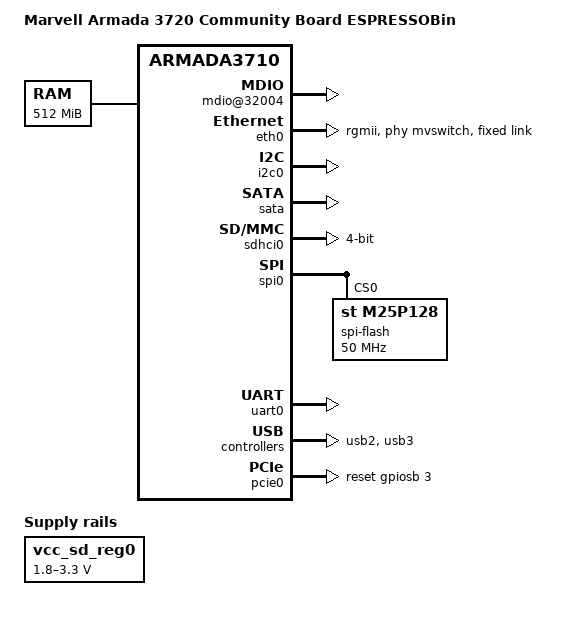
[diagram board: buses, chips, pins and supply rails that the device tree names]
// SPDX-License-Identifier: GPL-2.0+
/*
 * Device Tree file for Marvell Armada 3720 community board
 * (ESPRESSOBin)
 * Copyright (C) 2016 Marvell
 *
 * Gregory CLEMENT <gregory.clement@free-electrons.com>
 * Konstantin Porotchkin <kostap@marvell.com>
 */
/dts-v1/;

#include "armada-372x.dtsi"

/ {
	model = "Marvell Armada 3720 Community Board ESPRESSOBin";
	compatible = "marvell,armada-3720-espressobin",
		     "marvell,armada3720", "marvell,armada3710";

	chosen {
		stdout-path = "serial0:115200n8";
	};

	aliases {
		ethernet0 = &eth0;
		i2c0 = &i2c0;
		spi0 = &spi0;
	};

	memory {
		device_type = "memory";
		reg = <0x00000000 0x00000000 0x00000000 0x20000000>;
	};

	vcc_sd_reg0: regulator@0 {
		compatible = "regulator-gpio";
		regulator-name = "vcc_sd0";
		regulator-min-microvolt = <1800000>;
		regulator-max-microvolt = <3300000>;
		regulator-type = "voltage";
		states = <1800000 0x1
			  3300000 0x0>;
		gpios = <&gpionb 4 GPIO_ACTIVE_HIGH>;
	};

	mdio@32004 {
		#address-cells = <1>;
		#size-cells = <0>;
		status = "okay";

		mvswitch: switch@000000{
			compatible = "marvell,mv88e6xxx";
			status = "okay";
			phy-addr = <1>;
			cpu-port = <0x0>;
			port-mask = <0xf>;
		};
	};
};

&comphy {
	max-lanes = <3>;
	phy0 {
		phy-type = <COMPHY_TYPE_USB3>;
		phy-speed = <COMPHY_SPEED_5G>;
	};

	phy1 {
		phy-type = <COMPHY_TYPE_PEX0>;
		phy-speed = <COMPHY_SPEED_2_5G>;
	};

	phy2 {
		phy-type = <COMPHY_TYPE_SATA0>;
		phy-speed = <COMPHY_SPEED_6G>;
	};
};

&eth0 {
	status = "okay";
	pinctrl-names = "default";
	pinctrl-0 = <&rgmii_pins>, <&smi_pins>;
	phy-mode = "rgmii";
	phy_addr = <0x1>;
	phy = <&mvswitch>;

	fixed-link {
		speed = <1000>;
		full-duplex;
	};
};

&i2c0 {
	pinctrl-names = "default";
	pinctrl-0 = <&i2c1_pins>;
	status = "okay";
};

/* CON3 */
&sata {
	status = "okay";
};

/* J1 */
&sdhci0 {
	pinctrl-names = "default";
	pinctrl-0 = <&sdio_pins>;
	bus-width = <4>;
	vqmmc-supply = <&vcc_sd_reg0>;
	status = "okay";
};

/* U11 */
&sdhci1 {
	non-removable;
	bus-width = <8>;
	mmc-ddr-1_8v;
	mmc-hs400-1_8v;
	marvell,pad-type = "fixed-1-8v";
	pinctrl-names = "default";
	pinctrl-0 = <&mmc_pins>;
	status = "disabled";

	#address-cells = <1>;
	#size-cells = <0>;
	mmccard: mmccard@0 {
		compatible = "mmc-card";
		reg = <0>;
	};
};

&spi0 {
	status = "okay";
	pinctrl-names = "default";
	pinctrl-0 = <&spi_quad_pins>;

	spi-flash@0 {
		#address-cells = <1>;
		#size-cells = <1>;
		compatible = "st,m25p128", "jedec,spi-nor";
		reg = <0>; /* Chip select 0 */
		spi-max-frequency = <50000000>;
		m25p,fast-read;
	};
};

/* Exported on the micro USB connector CON32 through an FTDI */
&uart0 {
	pinctrl-names = "default";
	pinctrl-0 = <&uart1_pins>;
	status = "okay";
};

/* CON29 */
&usb2 {
	status = "okay";
};

/* CON31 */
&usb3 {
	status = "okay";
};

&pcie0 {
	pinctrl-names = "default";
	pinctrl-0 = <&pcie_pins>;
	reset-gpio = <&gpiosb 3 GPIO_ACTIVE_HIGH>;
	status = "okay";
};
